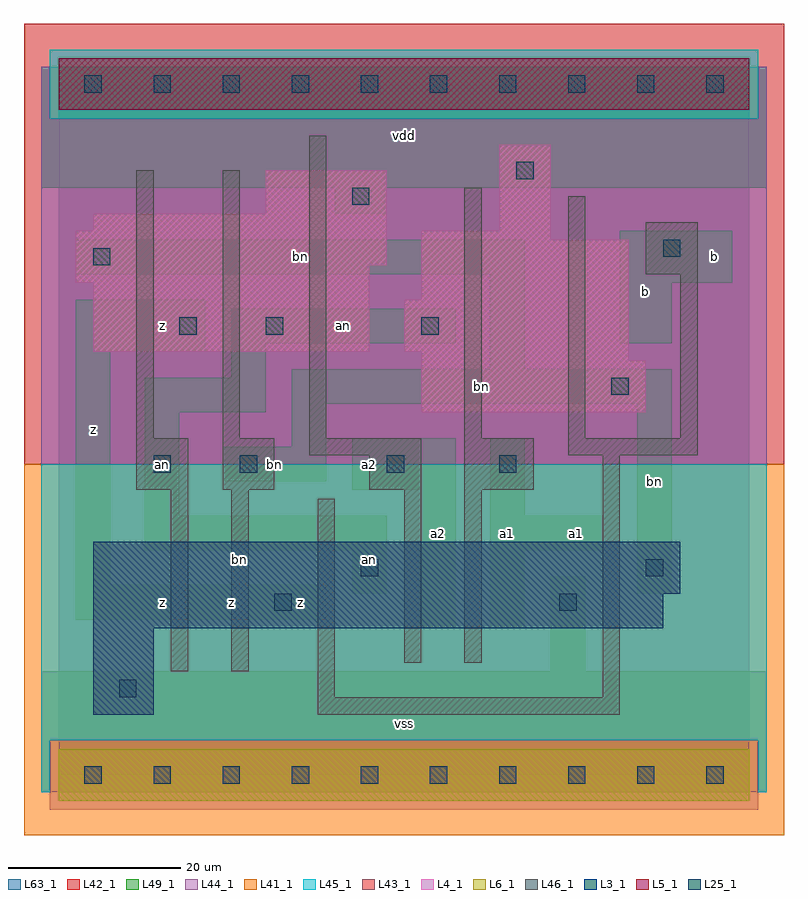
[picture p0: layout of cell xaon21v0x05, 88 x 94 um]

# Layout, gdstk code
import gdstk
lib = gdstk.Library(unit=1e-6, precision=1e-09)
def R(c, l, rs):  # rectangles x0, y0, x1, y1
    for r in rs: c.add(gdstk.rectangle(r[:2], r[2:], *l))
def A(c, l, x, y, w, h, nx, ny, dx, dy):  # array of equal rectangles
    R(c, l, [(x+i*dx, y+j*dy, x+i*dx+w, y+j*dy+h) for i in range(nx) for j in range(ny)])
L3_1 = (3, 1)
L4_1 = (4, 1)
L5_1 = (5, 1)
L6_1 = (6, 1)
L25_1 = (25, 1)
L41_1 = (41, 1)
L42_1 = (42, 1)
L43_1 = (43, 1)
L44_1 = (44, 1)
L45_1 = (45, 1)
L46_1 = (46, 1)
L49_1 = (49, 1)
L63_1 = (63, 1)

xaon21v0x05 = lib.new_cell('xaon21v0x05')
R(xaon21v0x05, L3_1, [(4,7,11,17), (4,17,70,21), (4,21,72,27)])
R(xaon21v0x05, L4_1, [(42,42,68,48), (42,48,66,49), (4,49,36,57), (40,49,66,55), (42,55,66,62), (2,57,36,59), (2,59,38,63), (42,62,57,63), (4,63,38,65), (51,63,57,73), (24,65,38,70)])
R(xaon21v0x05, L5_1, [(0,77,80,83)])
R(xaon21v0x05, L6_1, [(0,-3,80,3), (0,-3,80,3)])
A(xaon21v0x05, L25_1, 3, -1, 2, 2, 10, 2, 8, 80)
R(xaon21v0x05, L25_1, [(7,9,9,11), (25,19,27,21), (58,19,60,21), (35,23,37,25), (68,23,70,25), (11,35,13,37), (21,35,23,37), (38,35,40,37), (51,35,53,37), (64,44,66,46), (14,51,16,53), (24,51,26,53), (42,51,44,53), (4,59,6,61), (70,60,72,62), (34,66,36,68), (53,69,55,71)])
R(xaon21v0x05, L41_1, [(-4,-7,84,36)])
R(xaon21v0x05, L42_1, [(-4,36,84,87)])
R(xaon21v0x05, L43_1, [(0,-3,80,3), (4,7,11,17), (4,17,70,21), (4,21,72,27), (42,42,68,48), (42,48,66,49), (4,49,36,57), (40,49,66,55), (42,55,66,62), (2,57,36,59), (2,59,38,63), (42,62,57,63), (4,63,38,65), (51,63,57,73), (24,65,38,70), (0,77,80,83)])
R(xaon21v0x05, L44_1, [(-1,-4,81,4), (-2,36,82,76), (-2,76,-1,82), (81,76,82,82)])
R(xaon21v0x05, L45_1, [(-2,-2,-1,4), (81,-2,82,4), (-2,4,82,36), (-1,76,81,84)])
R(xaon21v0x05, L46_1, [(30,7,65,9), (30,9,32,32), (63,9,65,37), (13,12,15,33), (20,12,22,33), (40,13,42,33), (47,13,49,33), (9,33,15,39), (19,33,25,39), (36,33,42,37), (47,33,55,39), (29,37,42,39), (59,37,74,39), (9,39,11,70), (19,39,21,70), (29,39,31,74), (47,39,49,68), (59,39,61,67), (72,39,74,58), (68,58,74,64)])
R(xaon21v0x05, L49_1, [(-2,-2,82,12), (57,12,61,23), (42,17,46,33), (50,17,54,26), (2,18,31,22), (34,21,38,26), (67,21,71,43), (2,22,6,49), (10,26,38,30), (50,26,63,30), (10,30,14,42), (50,30,54,39), (34,33,46,39), (19,34,31,38), (27,38,31,43), (10,42,24,46), (27,43,71,47), (20,46,24,50), (50,47,54,58), (2,49,17,55), (20,50,46,54), (65,50,71,57), (65,57,78,63), (2,58,54,62), (32,65,38,68), (-2,68,82,82)])
R(xaon21v0x05, L63_1, [(0,0,80,80)])
xaon21v0x05.add(gdstk.Label('bn', (21,25), layer=46, texttype=1))
xaon21v0x05.add(gdstk.Label('an', (12,36), layer=49, texttype=1))
xaon21v0x05.add(gdstk.Label('z', (4,40), layer=49, texttype=1))
xaon21v0x05.add(gdstk.Label('z', (12,20), layer=49, texttype=1))
xaon21v0x05.add(gdstk.Label('z', (20,20), layer=49, texttype=1))
xaon21v0x05.add(gdstk.Label('z', (28,20), layer=49, texttype=1))
xaon21v0x05.add(gdstk.Label('an', (12,36), layer=49, texttype=1))
xaon21v0x05.add(gdstk.Label('z', (12,52), layer=49, texttype=1))
xaon21v0x05.add(gdstk.Label('vss', (40,6), layer=49, texttype=1))
xaon21v0x05.add(gdstk.Label('an', (36,25), layer=49, texttype=1))
xaon21v0x05.add(gdstk.Label('a2', (44,28), layer=49, texttype=1))
xaon21v0x05.add(gdstk.Label('bn', (25,36), layer=49, texttype=1))
xaon21v0x05.add(gdstk.Label('a2', (36,36), layer=49, texttype=1))
xaon21v0x05.add(gdstk.Label('an', (33,52), layer=49, texttype=1))
xaon21v0x05.add(gdstk.Label('vdd', (40,74), layer=49, texttype=1))
xaon21v0x05.add(gdstk.Label('a1', (52,28), layer=49, texttype=1))
xaon21v0x05.add(gdstk.Label('a1', (60,28), layer=49, texttype=1))
xaon21v0x05.add(gdstk.Label('bn', (28,60), layer=49, texttype=1))
xaon21v0x05.add(gdstk.Label('bn', (69,34), layer=49, texttype=1))
xaon21v0x05.add(gdstk.Label('bn', (49,45), layer=49, texttype=1))
xaon21v0x05.add(gdstk.Label('b', (68,56), layer=49, texttype=1))
xaon21v0x05.add(gdstk.Label('b', (76,60), layer=49, texttype=1))

lib.write_gds('xaon21v0x05.gds')
